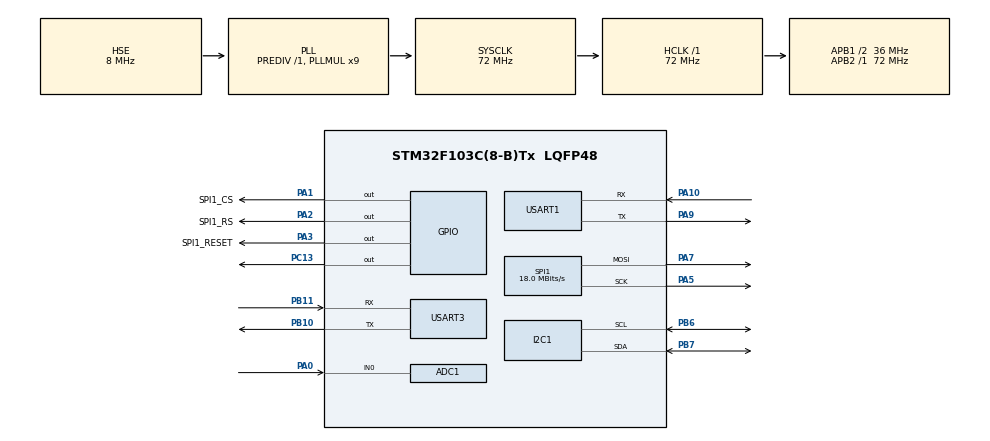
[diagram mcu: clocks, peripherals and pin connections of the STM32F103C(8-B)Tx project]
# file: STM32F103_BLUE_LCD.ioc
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ADC1.Channel-12\#ChannelRegularConversion=ADC_CHANNEL_0
ADC1.ContinuousConvMode=ENABLE
ADC1.DataAlign=ADC_DATAALIGN_RIGHT
ADC1.EnableAnalogWatchDog=true
ADC1.InjNumberOfConversion=0
ADC1.NbrOfConversion=1
ADC1.NbrOfConversionFlag=1
ADC1.Rank-12\#ChannelRegularConversion=1
ADC1.SamplingTime-12\#ChannelRegularConversion=ADC_SAMPLETIME_239CYCLES_5
ADC1.master=1
Dma.ADC1.0.Direction=DMA_PERIPH_TO_MEMORY
Dma.ADC1.0.Instance=DMA1_Channel1
Dma.ADC1.0.MemDataAlignment=DMA_MDATAALIGN_HALFWORD
Dma.ADC1.0.MemInc=DMA_MINC_ENABLE
Dma.ADC1.0.Mode=DMA_CIRCULAR
Dma.ADC1.0.PeriphDataAlignment=DMA_PDATAALIGN_HALFWORD
Dma.ADC1.0.PeriphInc=DMA_PINC_DISABLE
Dma.ADC1.0.Priority=DMA_PRIORITY_LOW
Dma.Request0=ADC1
Mcu.Family=STM32F1
Mcu.Name=STM32F103C(8-B)Tx
Mcu.Package=LQFP48
NVIC.DMA1_Channel1_IRQn=true\:0\:0\:false\:false\:true\:false
NVIC.PriorityGroup=NVIC_PRIORITYGROUP_4
NVIC.RCC_IRQn=true\:0\:0\:false\:false\:true\:true
NVIC.TIM2_IRQn=true\:0\:0\:false\:false\:true\:true
NVIC.TIM3_IRQn=true\:0\:0\:false\:false\:true\:true
PA0-WKUP.Signal=ADCx_IN0
PA1.GPIO_Label=SPI1_CS
PA1.Signal=GPIO_Output
PA10.Mode=Asynchronous
PA10.Signal=USART1_RX
PA2.GPIO_Label=SPI1_RS
PA2.Signal=GPIO_Output
PA3.GPIO_Label=SPI1_RESET
PA3.Signal=GPIO_Output
PA5.GPIO_Speed=GPIO_SPEED_FREQ_HIGH
PA5.Mode=TX_Only_Simplex_Unidirect_Master
PA5.Signal=SPI1_SCK
PA7.GPIO_Speed=GPIO_SPEED_FREQ_HIGH
PA7.Mode=TX_Only_Simplex_Unidirect_Master
PA7.Signal=SPI1_MOSI
PA9.Mode=Asynchronous
PA9.Signal=USART1_TX
PB10.Mode=Asynchronous
PB10.Signal=USART3_TX
PB11.Mode=Asynchronous
PB11.Signal=USART3_RX
PB6.Mode=I2C
PB6.Signal=I2C1_SCL
PB7.Mode=I2C
PB7.Signal=I2C1_SDA
PC13-TAMPER-RTC.Signal=GPIO_Output
PD0-OSC_IN.Mode=HSE-External-Oscillator
PD0-OSC_IN.Signal=RCC_OSC_IN
PD1-OSC_OUT.Mode=HSE-External-Oscillator
PD1-OSC_OUT.Signal=RCC_OSC_OUT
ProjectManager.HeapSize=0x200
ProjectManager.StackSize=0x400
ProjectManager.TargetToolchain=TrueSTUDIO
RCC.ADCPresc=RCC_ADCPCLK2_DIV6
RCC.AHBFreq_Value=72000000
RCC.APB1CLKDivider=RCC_HCLK_DIV2
RCC.APB1Freq_Value=36000000
RCC.APB1TimFreq_Value=72000000
RCC.APB2Freq_Value=72000000
RCC.APB2TimFreq_Value=72000000
RCC.HCLKFreq_Value=72000000
RCC.PLLMUL=RCC_PLL_MUL9
RCC.PLLSourceVirtual=RCC_PLLSOURCE_HSE
RCC.SYSCLKFreq_VALUE=72000000
RCC.SYSCLKSource=RCC_SYSCLKSOURCE_PLLCLK
RCC.USBFreq_Value=72000000
SH.ADCx_IN0.0=ADC1_IN0,IN0
SPI1.BaudRatePrescaler=SPI_BAUDRATEPRESCALER_4
SPI1.CalculateBaudRate=18.0 MBits/s
SPI1.Direction=SPI_DIRECTION_2LINES
SPI1.Mode=SPI_MODE_MASTER
SPI1.VirtualType=VM_MASTER
TIM2.Period=9999
TIM2.Prescaler=7199
TIM3.Period=4999
TIM3.Prescaler=7199
USART1.VirtualMode=VM_ASYNC
USART3.VirtualMode=VM_ASYNC
VP_SYS_VS_ND.Mode=No_Debug
VP_TIM2_VS_ClockSourceINT.Mode=Internal
VP_TIM3_VS_ClockSourceINT.Mode=Internal
board=custom

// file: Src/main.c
/**
  ******************************************************************************
  * @file           : main.c
  * @brief          : Main program body
  ******************************************************************************
  ** This notice applies to any and all portions of this file
  * that are not between comment pairs USER CODE BEGIN and
  * USER CODE END. Other portions of this file, whether
  * inserted by the user or by software development tools
  * are owned by their respective copyright owners.
  *
  * COPYRIGHT(c) 2018 STMicroelectronics
  *
  * Redistribution and use in source and binary forms, with or without modification,
  * are permitted provided that the following conditions are met:
  *   1. Redistributions of source code must retain the above copyright notice,
  *      this list of conditions and the following disclaimer.
  *   2. Redistributions in binary form must reproduce the above copyright notice,
  *      this list of conditions and the following disclaimer in the documentation
  *      and/or other materials provided with the distribution.
  *   3. Neither the name of STMicroelectronics nor the names of its contributors
  *      may be used to endorse or promote products derived from this software
  *      without specific prior written permission.
  *
  * THIS SOFTWARE IS PROVIDED BY THE COPYRIGHT HOLDERS AND CONTRIBUTORS "AS IS"
  * AND ANY EXPRESS OR IMPLIED WARRANTIES, INCLUDING, BUT NOT LIMITED TO, THE
  * IMPLIED WARRANTIES OF MERCHANTABILITY AND FITNESS FOR A PARTICULAR PURPOSE ARE
  * DISCLAIMED. IN NO EVENT SHALL THE COPYRIGHT HOLDER OR CONTRIBUTORS BE LIABLE
  * FOR ANY DIRECT, INDIRECT, INCIDENTAL, SPECIAL, EXEMPLARY, OR CONSEQUENTIAL
  * DAMAGES (INCLUDING, BUT NOT LIMITED TO, PROCUREMENT OF SUBSTITUTE GOODS OR
  * SERVICES; LOSS OF USE, DATA, OR PROFITS; OR BUSINESS INTERRUPTION) HOWEVER
  * CAUSED AND ON ANY THEORY OF LIABILITY, WHETHER IN CONTRACT, STRICT LIABILITY,
  * OR TORT (INCLUDING NEGLIGENCE OR OTHERWISE) ARISING IN ANY WAY OUT OF THE USE
  * OF THIS SOFTWARE, EVEN IF ADVISED OF THE POSSIBILITY OF SUCH DAMAGE.
  *
  ******************************************************************************
  */
#include "main.h"
#include "stm32f1xx_hal.h"

/* USER CODE BEGIN Includes */
#include "LTM022A69B.h"
#include "userDelay.h"

#include <stdio.h>
#include <stdlib.h>
#include <stddef.h>
#include <time.h>
#include <math.h>
#include <string.h>

#define I2C_ADDR     (0x44<<1)

/* USER CODE END Includes */

ADC_HandleTypeDef hadc1;
DMA_HandleTypeDef hdma_adc1;

I2C_HandleTypeDef hi2c1;

SPI_HandleTypeDef hspi1;

TIM_HandleTypeDef htim2;
TIM_HandleTypeDef htim3;

UART_HandleTypeDef huart1;
UART_HandleTypeDef huart3;

/* USER CODE BEGIN PV */
/* Private variables ---------------------------------------------------------*/
volatile uint16_t ADC;

uint8_t		Tx_I2C_Data[2];
uint8_t 	Rx_I2C_Data[6];

int Color[] = {
  CYAN,
  PURPLE,
  RED,
  GREEN,
  BLUE,
  WHITE,
	BLACK,
  YELLOW,
  ORANGE,
  GRAY,
  LGRAY,
  DARKGRAY,
  PORPO,
  PINK,
  GRAYBLUE,
  LGRAYBLUE,
  DARKBLUE,
  LIGHTBLUE
};

/* USER CODE END PV */

void SystemClock_Config(void);
static void MX_GPIO_Init(void);
static void MX_DMA_Init(void);
static void MX_SPI1_Init(void);
static void MX_I2C1_Init(void);
static void MX_TIM2_Init(void);
static void MX_TIM3_Init(void);
static void MX_USART1_UART_Init(void);
static void MX_USART3_UART_Init(void);
static void MX_ADC1_Init(void);

/* USER CODE BEGIN PFP */
/* Private function prototypes -----------------------------------------------*/
void HAL_TIM_PeriodElapsedCallback(TIM_HandleTypeDef *htim);

/* USER CODE END PFP */

/* USER CODE BEGIN 0 */
char prtData1[20];
char prtData2[20];
char prtData3[30];
uint16_t temp,humi,rnd;
double  Ftemp, Fhumi;
uint8_t		count = 0;

void HAL_TIM_PeriodElapsedCallback(TIM_HandleTypeDef *htim)
{
	if(htim->Instance==TIM2) {
		//if(count++==2)
		//{
			count = 0;
			Tx_I2C_Data[0] = 0x00;
			while(HAL_I2C_Master_Transmit(&hi2c1,(uint16_t)I2C_ADDR,(uint8_t *)&Tx_I2C_Data,0,1000)!=HAL_OK);
			delay_ms(50);
			while(HAL_I2C_Master_Receive (&hi2c1,(uint16_t)I2C_ADDR,(uint8_t *)Rx_I2C_Data,4,1000)!=HAL_OK);

			temp = 0;
			temp = (Rx_I2C_Data[0]<<8) | Rx_I2C_Data[1];
			temp &= 0x3FFF;
			Fhumi = (temp/16383.0)*100.0;

			humi = 0;
			humi = (Rx_I2C_Data[2]<<8) | Rx_I2C_Data[3];
			humi &= 0xFFFC;
			Ftemp = (humi/4.0/16383)*165.0-40;

			// send data to Remote per 5 sec
			sprintf(prtData1,"Temp : %8.3f @",Ftemp);
			sprintf(prtData2,"Humi : %8.3f %% ",Fhumi);
			rnd = rand();
			sprintf(prtData3,"ADC  : %10d,%10d",rnd%10000,ADC);
			//HAL_UART_Transmit(&huart2,(uint8_t *)prtData1, strlen(prtData1),1000);
			//HAL_UART_Transmit(&huart2,(uint8_t *)prtData2, strlen(prtData2),1000);
			//HAL_UART_Transmit(&huart2,(uint8_t *)"\r\n", 2,1000);

			     lcd_print_str(100,0,24,Color[7],Color[4],prtData1,landscape);
			     lcd_print_str(130,0,24,Color[6],Color[13],prtData2,landscape);
			     lcd_print_str(160,0,16,Color[2],Color[5],prtData3,landscape);

		//}
	}
	else if(htim->Instance==TIM3) {
		HAL_GPIO_TogglePin(GPIOC, GPIO_PIN_13);
	}
}
/* USER CODE END 0 */

int main(void)
{

  /* MCU Configuration----------------------------------------------------------*/

  /* Reset of all peripherals, Initializes the Flash interface and the Systick. */
  HAL_Init();

  /* Configure the system clock */
  SystemClock_Config();

  /* Initialize all configured peripherals */
  MX_GPIO_Init();
  MX_DMA_Init();
  MX_SPI1_Init();
  MX_I2C1_Init();
  MX_TIM2_Init();
  MX_TIM3_Init();
  MX_USART1_UART_Init();
  MX_USART3_UART_Init();
  MX_ADC1_Init();
  /* USER CODE BEGIN 2 */

  lcd_init();
  lcd_clear_screen(ORANGE);

  // LCD_WRITE_COMMAND( 0x003, 0x1228 );
  // for(int m=0;m<6;m++) lcd_fill(Color[m]); // lcd_clear_screen(Color[m]);
  // for(int m=0;m<5;m++) lcd_clear_area(Color[m+5], 10,10,70,200);

  /*
	LCD_WRITE_COMMAND( 0x003, 0x1220 );
	lcd_string(10,0,"�̼���1234567890ASDFGHJKL", WHITE, DARKGRAY);

	LCD_WRITE_COMMAND( 0x003, 0x1230 );
	lcd_string(12,0,"�̼���1234567890ASDFGHJKL", WHITE, DARKGRAY);
   */
    lcd_fill(DARKGRAY);

     for(int m=0;m<100;m++)
     {
    	 lcd_draw_pixel ( 100, 0+m, Color[0] ) ;
    	 lcd_draw_pixel ( 150, 100+m, Color[1] ) ;
    	 lcd_draw_pixel ( 200, 200+m, Color[2] ) ;
     }

     // for(int m=0;m<18;m++) lcd_draw_line(0,0,0+(m*10),319,Color[m]);

     lcd_draw_v_line(30,40,150,Color[10]);  // 30,40���� 150 �ȼ�
     lcd_draw_h_line(150,30,40,Color[2]);  // 30,40���� 150 �ȼ�

     lcd_draw_triangle(10,10,50,60,20,45,1,Color[8]);
     lcd_draw_rectangle(150,150,200,200,0,0,Color[4],Color[3]);
     lcd_draw_circle(100,100,20,1,Color[15]);

     lcd_print_str(16,0,16,Color[4],Color[3],"ABC def ghijkLM",landscape);
     lcd_print_str(50,0,24,Color[4],Color[3],"ABC DEF GHIJK",landscape);

     HAL_ADC_Start_DMA(&hadc1,(uint32_t *)&ADC,1);

     HAL_Delay(10);
  	 srand(ADC);

     while(HAL_TIM_Base_Start_IT(&htim2)!=HAL_OK);
     while(HAL_TIM_Base_Start_IT(&htim3)!=HAL_OK);
  /* USER CODE END 2 */

  /* Infinite loop */
  while (1)
  {

  /* USER CODE BEGIN 3 */
	  //lcd_draw_line(rand()%240,rand()%320,rand()%240,rand()%320,Color[rand()%17]);
	  // lcd_draw_triangle(rand()%240,rand()%320,rand()%240,rand()%320,rand()%240,rand()%320,1,Color[rand()%17]);
	  /*
	  switch(rand()%4)
	  {
	  case 0:
	  	  lcd_draw_line(rand()%240,rand()%320,rand()%240,rand()%320,Color[rand()%17]);
	  	  break;
	  case 1:
		  lcd_draw_triangle(rand()%240,rand()%320,rand()%240,rand()%320,rand()%240,rand()%320,1,Color[rand()%17]);
	  	  break;
	  case 2:
		  lcd_draw_rectangle(rand()%240,rand()%320,rand()%240,rand()%320,1,0,Color[rand()%17],Color[rand()%17]);
	  	  break;
	  case 3:
		  lcd_draw_circle(rand()%240,rand()%320,rand()%50,1,Color[rand()%17]);
	  	  break;
	  } */

  }
  /* USER CODE END 3 */

}

void SystemClock_Config(void)
{

  RCC_OscInitTypeDef RCC_OscInitStruct;
  RCC_ClkInitTypeDef RCC_ClkInitStruct;
  RCC_PeriphCLKInitTypeDef PeriphClkInit;

    /**Initializes the CPU, AHB and APB busses clocks
    */
  RCC_OscInitStruct.OscillatorType = RCC_OSCILLATORTYPE_HSE;
  RCC_OscInitStruct.HSEState = RCC_HSE_ON;
  RCC_OscInitStruct.HSEPredivValue = RCC_HSE_PREDIV_DIV1;
  RCC_OscInitStruct.HSIState = RCC_HSI_ON;
  RCC_OscInitStruct.PLL.PLLState = RCC_PLL_ON;
  RCC_OscInitStruct.PLL.PLLSource = RCC_PLLSOURCE_HSE;
  RCC_OscInitStruct.PLL.PLLMUL = RCC_PLL_MUL9;
  if (HAL_RCC_OscConfig(&RCC_OscInitStruct) != HAL_OK)
  {
    _Error_Handler(__FILE__, __LINE__);
  }

    /**Initializes the CPU, AHB and APB busses clocks
    */
  RCC_ClkInitStruct.ClockType = RCC_CLOCKTYPE_HCLK|RCC_CLOCKTYPE_SYSCLK
                              |RCC_CLOCKTYPE_PCLK1|RCC_CLOCKTYPE_PCLK2;
  RCC_ClkInitStruct.SYSCLKSource = RCC_SYSCLKSOURCE_PLLCLK;
  RCC_ClkInitStruct.AHBCLKDivider = RCC_SYSCLK_DIV1;
  RCC_ClkInitStruct.APB1CLKDivider = RCC_HCLK_DIV2;
  RCC_ClkInitStruct.APB2CLKDivider = RCC_HCLK_DIV1;

  if (HAL_RCC_ClockConfig(&RCC_ClkInitStruct, FLASH_LATENCY_2) != HAL_OK)
  {
    _Error_Handler(__FILE__, __LINE__);
  }

  PeriphClkInit.PeriphClockSelection = RCC_PERIPHCLK_ADC;
  PeriphClkInit.AdcClockSelection = RCC_ADCPCLK2_DIV6;
  if (HAL_RCCEx_PeriphCLKConfig(&PeriphClkInit) != HAL_OK)
  {
    _Error_Handler(__FILE__, __LINE__);
  }

    /**Configure the Systick interrupt time
    */
  HAL_SYSTICK_Config(HAL_RCC_GetHCLKFreq()/1000);

    /**Configure the Systick
    */
  HAL_SYSTICK_CLKSourceConfig(SYSTICK_CLKSOURCE_HCLK);

  /* SysTick_IRQn interrupt configuration */
  HAL_NVIC_SetPriority(SysTick_IRQn, 0, 0);
}

/* ADC1 init function */
static void MX_ADC1_Init(void)
{

  ADC_AnalogWDGConfTypeDef AnalogWDGConfig;
  ADC_ChannelConfTypeDef sConfig;

    /**Common config
    */
  hadc1.Instance = ADC1;
  hadc1.Init.ScanConvMode = ADC_SCAN_DISABLE;
  hadc1.Init.ContinuousConvMode = ENABLE;
  hadc1.Init.DiscontinuousConvMode = DISABLE;
  hadc1.Init.ExternalTrigConv = ADC_SOFTWARE_START;
  hadc1.Init.DataAlign = ADC_DATAALIGN_RIGHT;
  hadc1.Init.NbrOfConversion = 1;
  if (HAL_ADC_Init(&hadc1) != HAL_OK)
  {
    _Error_Handler(__FILE__, __LINE__);
  }

    /**Configure Analog WatchDog 1
    */
  AnalogWDGConfig.WatchdogMode = ADC_ANALOGWATCHDOG_SINGLE_REG;
  AnalogWDGConfig.HighThreshold = 0;
  AnalogWDGConfig.LowThreshold = 0;
  AnalogWDGConfig.Channel = ADC_CHANNEL_0;
  AnalogWDGConfig.ITMode = DISABLE;
  if (HAL_ADC_AnalogWDGConfig(&hadc1, &AnalogWDGConfig) != HAL_OK)
  {
    _Error_Handler(__FILE__, __LINE__);
  }

    /**Configure Regular Channel
    */
  sConfig.Channel = ADC_CHANNEL_0;
  sConfig.Rank = ADC_REGULAR_RANK_1;
  sConfig.SamplingTime = ADC_SAMPLETIME_239CYCLES_5;
  if (HAL_ADC_ConfigChannel(&hadc1, &sConfig) != HAL_OK)
  {
    _Error_Handler(__FILE__, __LINE__);
  }

}

/* I2C1 init function */
static void MX_I2C1_Init(void)
{

  hi2c1.Instance = I2C1;
  hi2c1.Init.ClockSpeed = 100000;
  hi2c1.Init.DutyCycle = I2C_DUTYCYCLE_2;
  hi2c1.Init.OwnAddress1 = 0;
  hi2c1.Init.AddressingMode = I2C_ADDRESSINGMODE_7BIT;
  hi2c1.Init.DualAddressMode = I2C_DUALADDRESS_DISABLE;
  hi2c1.Init.OwnAddress2 = 0;
  hi2c1.Init.GeneralCallMode = I2C_GENERALCALL_DISABLE;
  hi2c1.Init.NoStretchMode = I2C_NOSTRETCH_DISABLE;
  if (HAL_I2C_Init(&hi2c1) != HAL_OK)
  {
    _Error_Handler(__FILE__, __LINE__);
  }

}

/* SPI1 init function */
static void MX_SPI1_Init(void)
{

  /* SPI1 parameter configuration*/
  hspi1.Instance = SPI1;
  hspi1.Init.Mode = SPI_MODE_MASTER;
  hspi1.Init.Direction = SPI_DIRECTION_2LINES;
  hspi1.Init.DataSize = SPI_DATASIZE_8BIT;
  hspi1.Init.CLKPolarity = SPI_POLARITY_LOW;
  hspi1.Init.CLKPhase = SPI_PHASE_1EDGE;
  hspi1.Init.NSS = SPI_NSS_SOFT;
  hspi1.Init.BaudRatePrescaler = SPI_BAUDRATEPRESCALER_4;
  hspi1.Init.FirstBit = SPI_FIRSTBIT_MSB;
  hspi1.Init.TIMode = SPI_TIMODE_DISABLE;
  hspi1.Init.CRCCalculation = SPI_CRCCALCULATION_DISABLE;
  hspi1.Init.CRCPolynomial = 10;
  if (HAL_SPI_Init(&hspi1) != HAL_OK)
  {
    _Error_Handler(__FILE__, __LINE__);
  }

}

/* TIM2 init function */
static void MX_TIM2_Init(void)
{

  TIM_ClockConfigTypeDef sClockSourceConfig;
  TIM_MasterConfigTypeDef sMasterConfig;

  htim2.Instance = TIM2;
  htim2.Init.Prescaler = 7199;
  htim2.Init.CounterMode = TIM_COUNTERMODE_UP;
  htim2.Init.Period = 9999;
  htim2.Init.ClockDivision = TIM_CLOCKDIVISION_DIV1;
  htim2.Init.AutoReloadPreload = TIM_AUTORELOAD_PRELOAD_DISABLE;
  if (HAL_TIM_Base_Init(&htim2) != HAL_OK)
  {
    _Error_Handler(__FILE__, __LINE__);
  }

  sClockSourceConfig.ClockSource = TIM_CLOCKSOURCE_INTERNAL;
  if (HAL_TIM_ConfigClockSource(&htim2, &sClockSourceConfig) != HAL_OK)
  {
    _Error_Handler(__FILE__, __LINE__);
  }

  sMasterConfig.MasterOutputTrigger = TIM_TRGO_RESET;
  sMasterConfig.MasterSlaveMode = TIM_MASTERSLAVEMODE_DISABLE;
  if (HAL_TIMEx_MasterConfigSynchronization(&htim2, &sMasterConfig) != HAL_OK)
  {
    _Error_Handler(__FILE__, __LINE__);
  }

}

/* TIM3 init function */
static void MX_TIM3_Init(void)
{

  TIM_ClockConfigTypeDef sClockSourceConfig;
  TIM_MasterConfigTypeDef sMasterConfig;

  htim3.Instance = TIM3;
  htim3.Init.Prescaler = 7199;
  htim3.Init.CounterMode = TIM_COUNTERMODE_UP;
  htim3.Init.Period = 4999;
  htim3.Init.ClockDivision = TIM_CLOCKDIVISION_DIV1;
  htim3.Init.AutoReloadPreload = TIM_AUTORELOAD_PRELOAD_DISABLE;
  if (HAL_TIM_Base_Init(&htim3) != HAL_OK)
  {
    _Error_Handler(__FILE__, __LINE__);
  }

  sClockSourceConfig.ClockSource = TIM_CLOCKSOURCE_INTERNAL;
  if (HAL_TIM_ConfigClockSource(&htim3, &sClockSourceConfig) != HAL_OK)
  {
    _Error_Handler(__FILE__, __LINE__);
  }

  sMasterConfig.MasterOutputTrigger = TIM_TRGO_RESET;
  sMasterConfig.MasterSlaveMode = TIM_MASTERSLAVEMODE_DISABLE;
  if (HAL_TIMEx_MasterConfigSynchronization(&htim3, &sMasterConfig) != HAL_OK)
  {
    _Error_Handler(__FILE__, __LINE__);
  }

}

/* USART1 init function */
static void MX_USART1_UART_Init(void)
{

  huart1.Instance = USART1;
  huart1.Init.BaudRate = 115200;
  huart1.Init.WordLength = UART_WORDLENGTH_8B;
  huart1.Init.StopBits = UART_STOPBITS_1;
  huart1.Init.Parity = UART_PARITY_NONE;
  huart1.Init.Mode = UART_MODE_TX_RX;
  huart1.Init.HwFlowCtl = UART_HWCONTROL_NONE;
  huart1.Init.OverSampling = UART_OVERSAMPLING_16;
  if (HAL_UART_Init(&huart1) != HAL_OK)
  {
    _Error_Handler(__FILE__, __LINE__);
  }

}

/* USART3 init function */
static void MX_USART3_UART_Init(void)
{

  huart3.Instance = USART3;
  huart3.Init.BaudRate = 115200;
  huart3.Init.WordLength = UART_WORDLENGTH_8B;
  huart3.Init.StopBits = UART_STOPBITS_1;
  huart3.Init.Parity = UART_PARITY_NONE;
  huart3.Init.Mode = UART_MODE_TX_RX;
  huart3.Init.HwFlowCtl = UART_HWCONTROL_NONE;
  huart3.Init.OverSampling = UART_OVERSAMPLING_16;
  if (HAL_UART_Init(&huart3) != HAL_OK)
  {
    _Error_Handler(__FILE__, __LINE__);
  }

}

static void MX_DMA_Init(void)
{
  /* DMA controller clock enable */
  __HAL_RCC_DMA1_CLK_ENABLE();

  /* DMA interrupt init */
  /* DMA1_Channel1_IRQn interrupt configuration */
  HAL_NVIC_SetPriority(DMA1_Channel1_IRQn, 0, 0);
  HAL_NVIC_EnableIRQ(DMA1_Channel1_IRQn);

}

/** Configure pins as
        * Analog
        * Input
        * Output
        * EVENT_OUT
        * EXTI
*/
static void MX_GPIO_Init(void)
{

  GPIO_InitTypeDef GPIO_InitStruct;

  /* GPIO Ports Clock Enable */
  __HAL_RCC_GPIOC_CLK_ENABLE();
  __HAL_RCC_GPIOD_CLK_ENABLE();
  __HAL_RCC_GPIOA_CLK_ENABLE();
  __HAL_RCC_GPIOB_CLK_ENABLE();

  /*Configure GPIO pin Output Level */
  HAL_GPIO_WritePin(GPIOC, GPIO_PIN_13, GPIO_PIN_RESET);

  /*Configure GPIO pin Output Level */
  HAL_GPIO_WritePin(GPIOA, SPI1_CS_Pin|SPI1_RS_Pin|SPI1_RESET_Pin, GPIO_PIN_RESET);

  /*Configure GPIO pin : PC13 */
  GPIO_InitStruct.Pin = GPIO_PIN_13;
  GPIO_InitStruct.Mode = GPIO_MODE_OUTPUT_PP;
  GPIO_InitStruct.Pull = GPIO_NOPULL;
  GPIO_InitStruct.Speed = GPIO_SPEED_FREQ_LOW;
  HAL_GPIO_Init(GPIOC, &GPIO_InitStruct);

  /*Configure GPIO pins : SPI1_CS_Pin SPI1_RS_Pin SPI1_RESET_Pin */
  GPIO_InitStruct.Pin = SPI1_CS_Pin|SPI1_RS_Pin|SPI1_RESET_Pin;
  GPIO_InitStruct.Mode = GPIO_MODE_OUTPUT_PP;
  GPIO_InitStruct.Pull = GPIO_NOPULL;
  GPIO_InitStruct.Speed = GPIO_SPEED_FREQ_LOW;
  HAL_GPIO_Init(GPIOA, &GPIO_InitStruct);

}

void _Error_Handler(char *file, int line)
{
  while(1)
  {
  }
}

/************************ (C) COPYRIGHT STMicroelectronics *****END OF FILE****/
